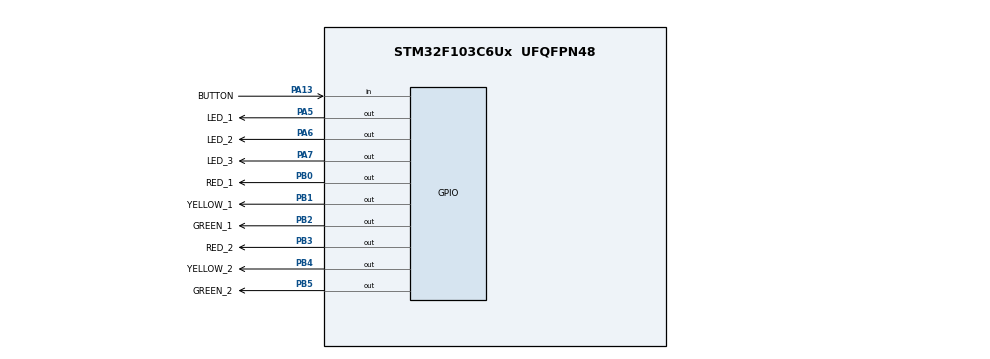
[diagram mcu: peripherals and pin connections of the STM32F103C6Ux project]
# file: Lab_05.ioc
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Mcu.Family=STM32F1
Mcu.Name=STM32F103C6Ux
Mcu.Package=UFQFPN48
NVIC.PriorityGroup=NVIC_PRIORITYGROUP_4
NVIC.TIM2_IRQn=true\:0\:0\:false\:false\:true\:true\:true\:true
PA13.GPIO_Label=BUTTON
PA13.GPIO_PuPd=GPIO_PULLUP
PA13.Signal=GPIO_Input
PA5.GPIO_Label=LED_1
PA5.Signal=GPIO_Output
PA6.GPIO_Label=LED_2
PA6.Signal=GPIO_Output
PA7.GPIO_Label=LED_3
PA7.Signal=GPIO_Output
PB0.GPIO_Label=RED_1
PB0.Signal=GPIO_Output
PB1.GPIO_Label=YELLOW_1
PB1.Signal=GPIO_Output
PB2.GPIO_Label=GREEN_1
PB2.Signal=GPIO_Output
PB3.GPIO_Label=RED_2
PB3.Signal=GPIO_Output
PB4.GPIO_Label=YELLOW_2
PB4.Signal=GPIO_Output
PB5.GPIO_Label=GREEN_2
PB5.Signal=GPIO_Output
ProjectManager.HeapSize=0x200
ProjectManager.StackSize=0x400
ProjectManager.TargetToolchain=STM32CubeIDE
RCC.APB1Freq_Value=8000000
RCC.APB2Freq_Value=8000000
TIM2.Period=9
TIM2.Prescaler=7999
VP_TIM2_VS_ClockSourceINT.Mode=Internal
board=custom

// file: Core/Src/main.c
/* USER CODE BEGIN Header */
/**
  ******************************************************************************
  * @file           : main.c
  * @brief          : Main program body
  ******************************************************************************
  * @attention
  *
  * Copyright (c) 2023 STMicroelectronics.
  * All rights reserved.
  *
  * This software is licensed under terms that can be found in the LICENSE file
  * in the root directory of this software component.
  * If no LICENSE file comes with this software, it is provided AS-IS.
  *
  ******************************************************************************
  */
/* USER CODE END Header */
#include "main.h"
#include "button.h"
#include "scheduler.h"
#include "timer.h"
#include "traffic.h"

TIM_HandleTypeDef htim2;

void SystemClock_Config(void);
static void MX_GPIO_Init(void);
static void MX_TIM2_Init(void);

/* USER CODE BEGIN 0 */
void LED1_display(){
	HAL_GPIO_TogglePin(LED_1_GPIO_Port, LED_1_Pin);
}
void LED2_display(){
	HAL_GPIO_TogglePin(LED_2_GPIO_Port, LED_2_Pin);
}

void LED3_display(){
	if (isButtonPressed(0)){
		HAL_GPIO_TogglePin(LED_3_GPIO_Port, LED_3_Pin);
	}
}
/* USER CODE END 0 */

int main(void)
{

  /* MCU Configuration--------------------------------------------------------*/

  /* Reset of all peripherals, Initializes the Flash interface and the Systick. */
  HAL_Init();

  /* Configure the system clock */
  SystemClock_Config();

  /* Initialize all configured peripherals */
  MX_GPIO_Init();
  MX_TIM2_Init();
  /* USER CODE BEGIN 2 */
  HAL_TIM_Base_Start_IT(&htim2);
  SCH_Init();
  SCH_Add_Task(LED1_display, 100, 300);
  SCH_Add_Task(LED2_display, 300, 0);	//oneshot task
  SCH_Add_Task(LED3_display, 0, 1);
  SCH_Add_Task(timer_run, 0, 1);
  SCH_Add_Task(traffic_light, 0, 1);
  /* USER CODE END 2 */

  /* Infinite loop */
  while (1)
  {
	  SCH_Dispatch_Tasks();
  }
}

void SystemClock_Config(void)
{
  RCC_OscInitTypeDef RCC_OscInitStruct = {0};
  RCC_ClkInitTypeDef RCC_ClkInitStruct = {0};

  /** Initializes the RCC Oscillators according to the specified parameters
  * in the RCC_OscInitTypeDef structure.
  */
  RCC_OscInitStruct.OscillatorType = RCC_OSCILLATORTYPE_HSI;
  RCC_OscInitStruct.HSIState = RCC_HSI_ON;
  RCC_OscInitStruct.HSICalibrationValue = RCC_HSICALIBRATION_DEFAULT;
  RCC_OscInitStruct.PLL.PLLState = RCC_PLL_NONE;
  if (HAL_RCC_OscConfig(&RCC_OscInitStruct) != HAL_OK)
  {
    Error_Handler();
  }

  /** Initializes the CPU, AHB and APB buses clocks
  */
  RCC_ClkInitStruct.ClockType = RCC_CLOCKTYPE_HCLK|RCC_CLOCKTYPE_SYSCLK
                              |RCC_CLOCKTYPE_PCLK1|RCC_CLOCKTYPE_PCLK2;
  RCC_ClkInitStruct.SYSCLKSource = RCC_SYSCLKSOURCE_HSI;
  RCC_ClkInitStruct.AHBCLKDivider = RCC_SYSCLK_DIV1;
  RCC_ClkInitStruct.APB1CLKDivider = RCC_HCLK_DIV1;
  RCC_ClkInitStruct.APB2CLKDivider = RCC_HCLK_DIV1;

  if (HAL_RCC_ClockConfig(&RCC_ClkInitStruct, FLASH_LATENCY_0) != HAL_OK)
  {
    Error_Handler();
  }
}

static void MX_TIM2_Init(void)
{

  TIM_ClockConfigTypeDef sClockSourceConfig = {0};
  TIM_MasterConfigTypeDef sMasterConfig = {0};

  htim2.Instance = TIM2;
  htim2.Init.Prescaler = 7999;
  htim2.Init.CounterMode = TIM_COUNTERMODE_UP;
  htim2.Init.Period = 9;
  htim2.Init.ClockDivision = TIM_CLOCKDIVISION_DIV1;
  htim2.Init.AutoReloadPreload = TIM_AUTORELOAD_PRELOAD_DISABLE;
  if (HAL_TIM_Base_Init(&htim2) != HAL_OK)
  {
    Error_Handler();
  }
  sClockSourceConfig.ClockSource = TIM_CLOCKSOURCE_INTERNAL;
  if (HAL_TIM_ConfigClockSource(&htim2, &sClockSourceConfig) != HAL_OK)
  {
    Error_Handler();
  }
  sMasterConfig.MasterOutputTrigger = TIM_TRGO_RESET;
  sMasterConfig.MasterSlaveMode = TIM_MASTERSLAVEMODE_DISABLE;
  if (HAL_TIMEx_MasterConfigSynchronization(&htim2, &sMasterConfig) != HAL_OK)
  {
    Error_Handler();
  }
  /* USER CODE BEGIN TIM2_Init 2 */
//  TIME_CYCLE = 1/(8e6/(htim2.Init.Prescaler + 1)/(htim2.Init.Period + 1)) * 1000;
  TIME_CYCLE = 10;
  /* USER CODE END TIM2_Init 2 */

}

static void MX_GPIO_Init(void)
{
  GPIO_InitTypeDef GPIO_InitStruct = {0};

  /* GPIO Ports Clock Enable */
  __HAL_RCC_GPIOA_CLK_ENABLE();
  __HAL_RCC_GPIOB_CLK_ENABLE();

  /*Configure GPIO pin Output Level */
  HAL_GPIO_WritePin(GPIOA, LED_1_Pin|LED_2_Pin|LED_3_Pin, GPIO_PIN_RESET);

  /*Configure GPIO pin Output Level */
  HAL_GPIO_WritePin(GPIOB, RED_1_Pin|YELLOW_1_Pin|GREEN_1_Pin|RED_2_Pin
                          |YELLOW_2_Pin|GREEN_2_Pin, GPIO_PIN_RESET);

  /*Configure GPIO pins : LED_1_Pin LED_2_Pin LED_3_Pin */
  GPIO_InitStruct.Pin = LED_1_Pin|LED_2_Pin|LED_3_Pin;
  GPIO_InitStruct.Mode = GPIO_MODE_OUTPUT_PP;
  GPIO_InitStruct.Pull = GPIO_NOPULL;
  GPIO_InitStruct.Speed = GPIO_SPEED_FREQ_LOW;
  HAL_GPIO_Init(GPIOA, &GPIO_InitStruct);

  /*Configure GPIO pins : RED_1_Pin YELLOW_1_Pin GREEN_1_Pin RED_2_Pin
                           YELLOW_2_Pin GREEN_2_Pin */
  GPIO_InitStruct.Pin = RED_1_Pin|YELLOW_1_Pin|GREEN_1_Pin|RED_2_Pin
                          |YELLOW_2_Pin|GREEN_2_Pin;
  GPIO_InitStruct.Mode = GPIO_MODE_OUTPUT_PP;
  GPIO_InitStruct.Pull = GPIO_NOPULL;
  GPIO_InitStruct.Speed = GPIO_SPEED_FREQ_LOW;
  HAL_GPIO_Init(GPIOB, &GPIO_InitStruct);

  /*Configure GPIO pin : BUTTON_Pin */
  GPIO_InitStruct.Pin = BUTTON_Pin;
  GPIO_InitStruct.Mode = GPIO_MODE_INPUT;
  GPIO_InitStruct.Pull = GPIO_PULLUP;
  HAL_GPIO_Init(BUTTON_GPIO_Port, &GPIO_InitStruct);

}

/* USER CODE BEGIN 4 */
void HAL_TIM_PeriodElapsedCallback ( TIM_HandleTypeDef * htim ) {
	SCH_Update();
	getKeyInput();
}
/* USER CODE END 4 */

void Error_Handler(void)
{
  __disable_irq();
  while (1)
  {
  }
}
